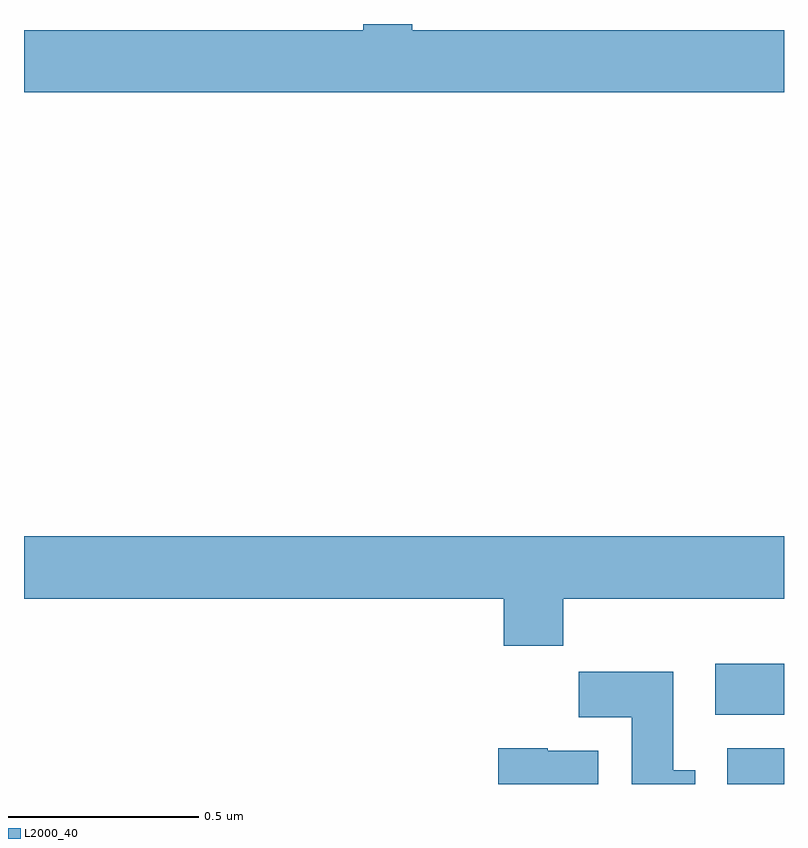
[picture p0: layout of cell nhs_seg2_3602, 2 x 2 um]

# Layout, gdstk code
import gdstk
lib = gdstk.Library(unit=1e-6, precision=1e-09)
def R(c, l, rs):  # rectangles x0, y0, x1, y1
    for r in rs: c.add(gdstk.rectangle(r[:2], r[2:], *l))
def P(c, l, *ps):  # polygons
    for p in ps: c.add(gdstk.Polygon(p, *l))
L2000_40 = (2000, 40)

nhs_seg2_3602 = lib.new_cell('nhs_seg2_3602')
R(nhs_seg2_3602, L2000_40, [(156.851,661.8,157,661.894), (156.819,661.982,157,662.116)])
P(nhs_seg2_3602, L2000_40, [(157,663.784),(156.022,663.784),(156.022,663.8),(155.893,663.8),(155.893,663.784),(155,663.784),(155,663.62),(157,663.62)],
  [(156.419,662.288),(157,662.288),(157,662.452),(155,662.452),(155,662.288),(156.263,662.288),(156.263,662.164),(156.419,662.164)],
  [(156.766,661.836),(156.709,661.836),(156.709,662.095),(156.46,662.095),(156.46,661.976),(156.599,661.976),(156.599,661.8),(156.766,661.8)],
  [(156.511,661.888),(156.378,661.888),(156.378,661.894),(156.248,661.894),(156.248,661.8),(156.511,661.8)])

lib.write_gds('nhs_seg2_3602.gds')
